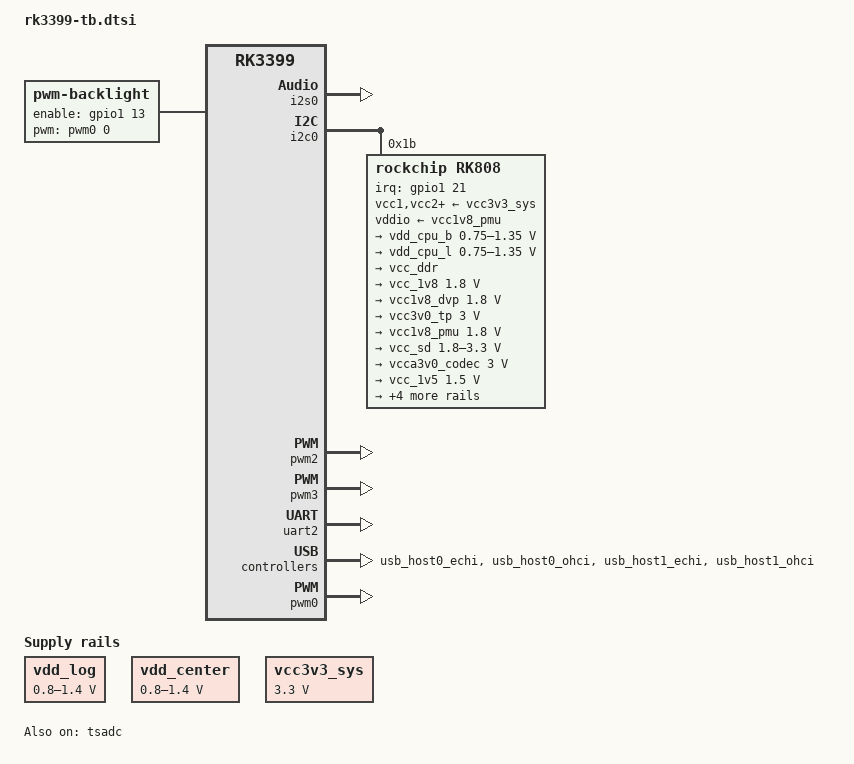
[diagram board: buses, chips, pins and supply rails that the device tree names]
/*
 * Copyright (c) 2016 Fuzhou Rockchip Electronics Co., Ltd
 *
 * This file is dual-licensed: you can use it either under the terms
 * of the GPL or the X11 license, at your option. Note that this dual
 * licensing only applies to this file, and not this project as a
 * whole.
 *
 *  a) This file is free software; you can redistribute it and/or
 *     modify it under the terms of the GNU General Public License as
 *     published by the Free Software Foundation; either version 2 of the
 *     License, or (at your option) any later version.
 *
 *     This file is distributed in the hope that it will be useful,
 *     but WITHOUT ANY WARRANTY; without even the implied warranty of
 *     MERCHANTABILITY or FITNESS FOR A PARTICULAR PURPOSE.  See the
 *     GNU General Public License for more details.
 *
 * Or, alternatively,
 *
 *  b) Permission is hereby granted, free of charge, to any person
 *     obtaining a copy of this software and associated documentation
 *     files (the "Software"), to deal in the Software without
 *     restriction, including without limitation the rights to use,
 *     copy, modify, merge, publish, distribute, sublicense, and/or
 *     sell copies of the Software, and to permit persons to whom the
 *     Software is furnished to do so, subject to the following
 *     conditions:
 *
 *     The above copyright notice and this permission notice shall be
 *     included in all copies or substantial portions of the Software.
 *
 *     THE SOFTWARE IS PROVIDED "AS IS", WITHOUT WARRANTY OF ANY KIND,
 *     EXPRESS OR IMPLIED, INCLUDING BUT NOT LIMITED TO THE WARRANTIES
 *     OF MERCHANTABILITY, FITNESS FOR A PARTICULAR PURPOSE AND
 *     NONINFRINGEMENT. IN NO EVENT SHALL THE AUTHORS OR COPYRIGHT
 *     HOLDERS BE LIABLE FOR ANY CLAIM, DAMAGES OR OTHER LIABILITY,
 *     WHETHER IN AN ACTION OF CONTRACT, TORT OR OTHERWISE, ARISING
 *     FROM, OUT OF OR IN CONNECTION WITH THE SOFTWARE OR THE USE OR
 *     OTHER DEALINGS IN THE SOFTWARE.
 */

#include <dt-bindings/pwm/pwm.h>
#include "rk3399.dtsi"

/ {
	compatible = "rockchip,tb", "rockchip,rk3399";

	vdd_log: vdd-log {
		compatible = "pwm-regulator";
		pwms = <&pwm2 0 1000>;
		regulator-name = "vdd_log";
		regulator-min-microvolt = <800000>;
		regulator-max-microvolt = <1400000>;
		regulator-always-on;
		status = "okay";
	};

	vdd_center: vdd-center {
		compatible = "pwm-regulator";
		pwms = <&pwm3 0 1000>;
		regulator-name = "vdd_center";
		regulator-min-microvolt = <800000>;
		regulator-max-microvolt = <1400000>;
		regulator-always-on;
		status = "okay";
	};

	vcc3v3_sys: vcc3v3-sys {
		compatible = "regulator-fixed";
		regulator-name = "vcc3v3_sys";
		regulator-always-on;
		regulator-boot-on;
		regulator-min-microvolt = <3300000>;
		regulator-max-microvolt = <3300000>;
	};

	backlight: backlight {
		compatible = "pwm-backlight";
		pwms = <&pwm0 0 25000 PWM_POLARITY_INVERTED>;
		brightness-levels = <
			  0   1   2   3   4   5   6   7
			  8   9  10  11  12  13  14  15
			 16  17  18  19  20  21  22  23
			 24  25  26  27  28  29  30  31
			 32  33  34  35  36  37  38  39
			 40  41  42  43  44  45  46  47
			 48  49  50  51  52  53  54  55
			 56  57  58  59  60  61  62  63
			 64  65  66  67  68  69  70  71
			 72  73  74  75  76  77  78  79
			 80  81  82  83  84  85  86  87
			 88  89  90  91  92  93  94  95
			 96  97  98  99 100 101 102 103
			104 105 106 107 108 109 110 111
			112 113 114 115 116 117 118 119
			120 121 122 123 124 125 126 127
			128 129 130 131 132 133 134 135
			136 137 138 139 140 141 142 143
			144 145 146 147 148 149 150 151
			152 153 154 155 156 157 158 159
			160 161 162 163 164 165 166 167
			168 169 170 171 172 173 174 175
			176 177 178 179 180 181 182 183
			184 185 186 187 188 189 190 191
			192 193 194 195 196 197 198 199
			200 201 202 203 204 205 206 207
			208 209 210 211 212 213 214 215
			216 217 218 219 220 221 222 223
			224 225 226 227 228 229 230 231
			232 233 234 235 236 237 238 239
			240 241 242 243 244 245 246 247
			248 249 250 251 252 253 254 255>;
		default-brightness-level = <200>;
		enable-gpios = <&gpio1 13 GPIO_ACTIVE_HIGH>;
	};
};

&i2s0 {
	status = "okay";
};

&i2c0 {
	status = "okay";

	rk808: pmic@1b {
		compatible = "rockchip,rk808";
		reg = <0x1b>;
		interrupt-parent = <&gpio1>;
		interrupts = <21 IRQ_TYPE_LEVEL_LOW>;
		pinctrl-names = "default";
		pinctrl-0 = <&pmic_int_l>;
		rockchip,system-power-controller;
		wakeup-source;
		#clock-cells = <1>;
		clock-output-names = "xin32k", "rk808-clkout2";

		vcc1-supply = <&vcc3v3_sys>;
		vcc2-supply = <&vcc3v3_sys>;
		vcc3-supply = <&vcc3v3_sys>;
		vcc4-supply = <&vcc3v3_sys>;
		vcc6-supply = <&vcc3v3_sys>;
		vcc7-supply = <&vcc3v3_sys>;
		vcc8-supply = <&vcc3v3_sys>;
		vcc9-supply = <&vcc3v3_sys>;
		vcc10-supply = <&vcc3v3_sys>;
		vcc11-supply = <&vcc3v3_sys>;
		vcc12-supply = <&vcc3v3_sys>;
		vddio-supply = <&vcc1v8_pmu>;

		regulators {
			vdd_cpu_b: DCDC_REG1 {
				regulator-always-on;
				regulator-boot-on;
				regulator-min-microvolt = <750000>;
				regulator-max-microvolt = <1350000>;
				regulator-name = "vdd_cpu_b";
				regulator-state-mem {
					regulator-off-in-suspend;
				};
			};

			vdd_cpu_l: DCDC_REG2 {
				regulator-always-on;
				regulator-boot-on;
				regulator-min-microvolt = <750000>;
				regulator-max-microvolt = <1350000>;
				regulator-name = "vdd_cpu_l";
				regulator-state-mem {
					regulator-off-in-suspend;
				};
			};

			vcc_ddr: DCDC_REG3 {
				regulator-always-on;
				regulator-boot-on;
				regulator-name = "vcc_ddr";
				regulator-state-mem {
					regulator-on-in-suspend;
				};
			};

			vcc_1v8: DCDC_REG4 {
				regulator-always-on;
				regulator-boot-on;
				regulator-min-microvolt = <1800000>;
				regulator-max-microvolt = <1800000>;
				regulator-name = "vcc_1v8";
				regulator-state-mem {
					regulator-on-in-suspend;
					regulator-suspend-microvolt = <1800000>;
				};
			};

			vcc1v8_dvp: LDO_REG1 {
				regulator-always-on;
				regulator-boot-on;
				regulator-min-microvolt = <1800000>;
				regulator-max-microvolt = <1800000>;
				regulator-name = "vcc1v8_dvp";
				regulator-state-mem {
					regulator-on-in-suspend;
					regulator-suspend-microvolt = <1800000>;
				};
			};

			vcc3v0_tp: LDO_REG2 {
				regulator-always-on;
				regulator-boot-on;
				regulator-min-microvolt = <3000000>;
				regulator-max-microvolt = <3000000>;
				regulator-name = "vcc3v0_tp";
				regulator-state-mem {
					regulator-off-in-suspend;
				};
			};

			vcc1v8_pmu: LDO_REG3 {
				regulator-always-on;
				regulator-boot-on;
				regulator-min-microvolt = <1800000>;
				regulator-max-microvolt = <1800000>;
				regulator-name = "vcc1v8_pmu";
				regulator-state-mem {
					regulator-on-in-suspend;
					regulator-suspend-microvolt = <1800000>;
				};
			};

			vcc_sd: LDO_REG4 {
				regulator-always-on;
				regulator-boot-on;
				regulator-min-microvolt = <1800000>;
				regulator-max-microvolt = <3300000>;
				regulator-name = "vcc_sd";
				regulator-state-mem {
					regulator-on-in-suspend;
					regulator-suspend-microvolt = <3300000>;
				};
			};

			vcca3v0_codec: LDO_REG5 {
				regulator-always-on;
				regulator-boot-on;
				regulator-min-microvolt = <3000000>;
				regulator-max-microvolt = <3000000>;
				regulator-name = "vcca3v0_codec";
				regulator-state-mem {
					regulator-on-in-suspend;
					regulator-suspend-microvolt = <3000000>;
				};
			};

			vcc_1v5: LDO_REG6 {
				regulator-always-on;
				regulator-boot-on;
				regulator-min-microvolt = <1500000>;
				regulator-max-microvolt = <1500000>;
				regulator-name = "vcc_1v5";
				regulator-state-mem {
					regulator-on-in-suspend;
					regulator-suspend-microvolt = <1500000>;
				};
			};

			vcca1v8_codec: LDO_REG7 {
				regulator-always-on;
				regulator-boot-on;
				regulator-min-microvolt = <1800000>;
				regulator-max-microvolt = <1800000>;
				regulator-name = "vcca1v8_codec";
				regulator-state-mem {
					regulator-on-in-suspend;
					regulator-suspend-microvolt = <1800000>;
				};
			};

			vcc_3v0: LDO_REG8 {
				regulator-always-on;
				regulator-boot-on;
				regulator-min-microvolt = <3000000>;
				regulator-max-microvolt = <3000000>;
				regulator-name = "vcc_3v0";
				regulator-state-mem {
					regulator-on-in-suspend;
					regulator-suspend-microvolt = <3000000>;
				};
			};

			vcc3v3_s3: SWITCH_REG1 {
				regulator-always-on;
				regulator-boot-on;
				regulator-name = "vcc3v3_s3";
				regulator-state-mem {
					regulator-on-in-suspend;
				};
			};

			vcc3v3_s0: SWITCH_REG2 {
				regulator-always-on;
				regulator-boot-on;
				regulator-name = "vcc3v3_s0";
				regulator-state-mem {
					regulator-on-in-suspend;
				};
			};
		};
	};
};

&pwm2 {
	status = "okay";
};

&pwm3 {
	status = "okay";
};

&tsadc {
	rockchip,hw-tshut-mode = <1>; /* tshut mode 0:CRU 1:GPIO */
	rockchip,hw-tshut-polarity = <0>; /* tshut polarity 0:LOW 1:HIGH */
	status = "okay";
};

&uart2 {
	status = "okay";
};

&usb_host0_echi {
	status = "okay";
};

&usb_host0_ohci {
	status = "okay";
};

&usb_host1_echi {
	status = "okay";
};

&usb_host1_ohci {
	status = "okay";
};

&pwm0 {
	status = "okay";
};
